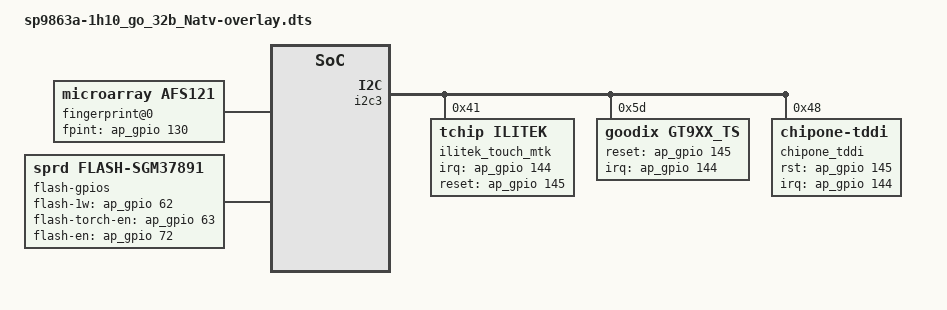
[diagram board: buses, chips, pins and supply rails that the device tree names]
/dts-v1/;
/plugin/;
#include <dt-bindings/gpio/gpio.h>

/ {
	fragment {
		target-path = "/";
		__overlay__ {
			fingerprint@0 {
				compatible = "microarray,afs121";
				fpint-gpios = <&ap_gpio 130 0>;
			};

			flash-gpios {
				compatible = "sprd,flash-sgm37891";
				flash-ic = <37891>;
				flash-1w-gpios = <&ap_gpio 62 0>;
				flash-torch-en-gpios = <&ap_gpio 63 0>;
				flash-en-gpios = <&ap_gpio 72 0>;
			};
/*			pwm_backlight: sprd_backlight {
				compatible = "pwm-backlight";
				pwms = <&pwms 1 30000>;
				pwm-names = "backlight";
				brightness-levels = <
						  2   2   2   2   2   2   2   2
					  2   2   2   3   4   5   6   7   8   9
					 10  11  12  13  14  15  16  17  18  19
					 20  21  22  23  24  25  26  27  28  29
					 30  31  32  33  34  35  36  37  38  39
					 40  41  42  43  44  45  46  47  48  49
					 50  51  52  53  54  55  56  57  58  59
					 60  61  62  63  64  65  66  67  68  69
					 70  71  72  73  74  75  76  77  78  79
					 80  81  82  83  84  85  86  87  88  89
					 90  91  92  93  94  95  96  97  98  99
					100 101 102 103 104 105 106 107 108 109
					110 111 112 113 114 115 116 117 118 119
					120 121 122 123 124 125 126 127 128 129
					130 131 132 133 134 135 136 137 138 139
					140 141 142 143 144 145 146 147 148 149
					150 151 152 153 154 155 156 157 158 159
					160 161 162 163 164 165 166 167 168 169
					170 171 172 173 174 175 176 177 178 179
					180 181 182 183 184 185 186 187 188 189
					190 191 192 193 194 195 196 197 198 199
					200 201 202 203 204 205 206 207 208 209
					210 211 212 213 214 215 216 217 218 219
					220 221 222 223 224 225 226 227 228 229
					230 231 232 233 234 235 236 237 238 239
					240 241 242 243 244 245 246 247
				>;
				default-brightness-level = <33>;
			};*/
		};
	};
};

&i2c3 {
	status = "okay";

	ilitek_touch_mtk:ilitek_touch@41{
		compatible = "tchip,ilitek";
		reg = <0x41>;
		touch,irq-gpio = <&ap_gpio 144 0>;
		touch,reset-gpio = <&ap_gpio 145 0>;
		status = "okay";
	};

	gt9xx_ts@5d{
		compatible = "goodix,gt9xx_ts";
		reg = <0x5d>;
		status = "okay";
		reset-gpios = <&ap_gpio 145 0x0>;
		irq-gpios = <&ap_gpio 144 0x0>;
		irq-flags = <2>;

		touchscreen-max-id = <11>;
		touchscreen-size-x = <720>;
		touchscreen-size-y = <1440>;
		touchscreen-max-w = <512>;
		touchscreen-max-p = <512>;
		touchscreen-key-map = <172>, <158>; /*KEY_HOMEPAGE=172, KEY_BACK=158，KEY_MENU=139*/
		goodix,slide-wakeup = <0>;
		goodix,type-a-report = <0>;
		goodix,driver-send-cfg = <1>;
		goodix,resume-in-workqueue = <0>;
		goodix,int-sync = <1>;
		goodix,swap-x2y = <0>;
		goodix,esd-protect = <1>;
		goodix,auto-update-cfg = <0>;
		goodix,power-off-sleep = <1>;
		goodix,pen-suppress-finger = <0>;
		goodix,cfg-group2 = [
		44 D0 02 A0 05 05 3D 08 01 0A 1E 0F 50 37 03 05 00 00 00 00 00 00 06 18 1A 1E 14 86 26 BC 4A 4C B5 06 BB 0A 00 1A 32 11 00 00 00 00 00 00 00 23 C8 A0 42 32 7D 85 80 C5 01 1E 00 04 A6 37 00 8D 42 00 78 4F 00 67 5F 00 59 72 00 59 00 00 00 00 00 00 00 00 00 00 00 01 02 00 00 00 00 00 7F 67 00 00 0A 23 00 00 00 00 46 00 46 00 00 00 00 32 00 01 02 03 04 05 06 07 08 09 0A 0B 16 15 14 13 12 11 10 0F 0E 0D 0C 17 18 19 1A 1B FF FF 05 06 08 0A 0C 0E 1E 1F 20 22 24 2A 29 2A FF FF FF FF FF FF FF FF FF FF FF FF FF FF FF FF FF FF FF FF FF FF FF FF FF FF FF FF 00 00 00 00 00 00 00 00 00 00 00 00 00 00 00 00 00 00 00 00 00 00 00 00 00 00 00 00 00 00 00 00 00 00 00 00 00 00 00 00 00 00 A2 01
		];
	};	
        chipone_tddi@48 {
                status = "ok";
                compatible = "chipone-tddi";
                reg = <0x48>;
                interrupt-parent = <&ap_gpio>;
                interrupts = <144 0x2008>;
                
                chipone,rst-gpio = <&ap_gpio 145 0x00>;
                chipone,irq-gpio = <&ap_gpio 144 0x00>;
                chipone,x-res = <720>;
                chipone,y-res = <1560>;

                /* Charger detect */
                chipone,touch-charger-detect-enable;
                chipone,touch-charger-detect-type = "notify"; /* notify, poll */
                chipone,touch-charger-detect-psy-name = "charger";
                chipone,touch-charger-detect-psp = "POWER_SUPPLY_PROP_ONLINE";
                chipone,touch-charger-detect-psp-poll-interval = <1000>;

                /* Earjack detect */
                chipone,touch-earjack-detect-enable;
                /* MTK:  /sys/bus/platform/drivers/Accdet_Driver/state,
                   Sprd: /sys/kernel/headset/state
                   QCOM: None, and disable it */
                chipone,touch-earjack-state-filepath = "/sys/kernel/headset/state";
                chipone,touch-earjack-poll-interval = <1000>;
       };
};

&ddr_dfs {
	sprd-scene = "boost", "lcdon", "lcdoff", "camlow",
			"camhigh", "camveryhigh";
	sprd-freq = <933 400 233 400 622 933>;
};
